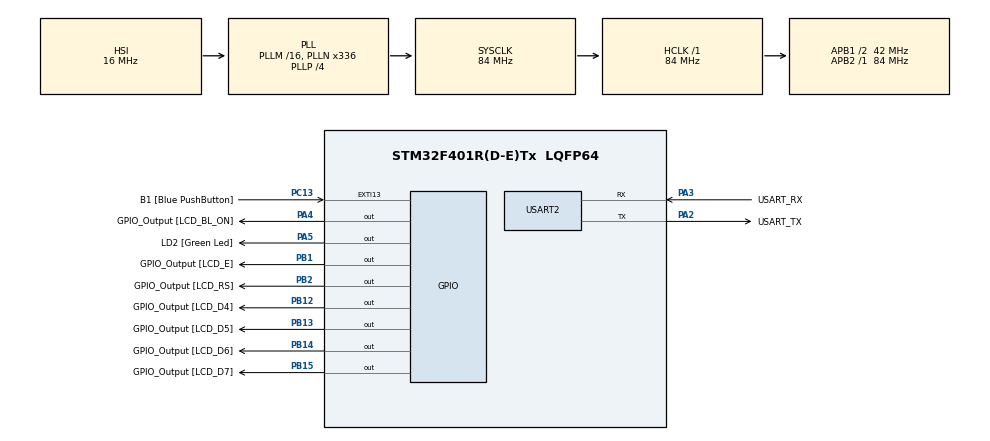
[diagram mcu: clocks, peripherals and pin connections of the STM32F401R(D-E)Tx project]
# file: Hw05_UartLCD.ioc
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Dma.Request0=USART2_RX
Dma.USART2_RX.0.Direction=DMA_PERIPH_TO_MEMORY
Dma.USART2_RX.0.FIFOMode=DMA_FIFOMODE_DISABLE
Dma.USART2_RX.0.Instance=DMA1_Stream5
Dma.USART2_RX.0.MemDataAlignment=DMA_MDATAALIGN_BYTE
Dma.USART2_RX.0.MemInc=DMA_MINC_ENABLE
Dma.USART2_RX.0.Mode=DMA_NORMAL
Dma.USART2_RX.0.PeriphDataAlignment=DMA_PDATAALIGN_BYTE
Dma.USART2_RX.0.PeriphInc=DMA_PINC_DISABLE
Dma.USART2_RX.0.Priority=DMA_PRIORITY_LOW
Mcu.Family=STM32F4
Mcu.Name=STM32F401R(D-E)Tx
Mcu.Package=LQFP64
NVIC.DMA1_Stream5_IRQn=true\:0\:0\:false\:false\:true\:false\:true\:true
NVIC.PriorityGroup=NVIC_PRIORITYGROUP_4
NVIC.USART2_IRQn=true\:0\:0\:false\:false\:true\:true\:true\:true
PA13.GPIO_Label=TMS
PA13.Mode=Trace_Asynchronous_SW
PA13.Signal=SYS_JTMS-SWDIO
PA14.GPIO_Label=TCK
PA14.Mode=Trace_Asynchronous_SW
PA14.Signal=SYS_JTCK-SWCLK
PA2.GPIO_Label=USART_TX
PA2.GPIO_Mode=GPIO_MODE_AF_PP
PA2.GPIO_PuPd=GPIO_NOPULL
PA2.GPIO_Speed=GPIO_SPEED_FREQ_LOW
PA2.Mode=Asynchronous
PA2.Signal=USART2_TX
PA3.GPIO_Label=USART_RX
PA3.GPIO_Mode=GPIO_MODE_AF_PP
PA3.GPIO_PuPd=GPIO_NOPULL
PA3.GPIO_Speed=GPIO_SPEED_FREQ_LOW
PA3.Mode=Asynchronous
PA3.Signal=USART2_RX
PA4.GPIO_Label=GPIO_Output [LCD_BL_ON]
PA4.Signal=GPIO_Output
PA5.GPIO_Label=LD2 [Green Led]
PA5.GPIO_Mode=GPIO_MODE_OUTPUT_PP
PA5.GPIO_PuPd=GPIO_NOPULL
PA5.GPIO_Speed=GPIO_SPEED_FREQ_LOW
PA5.Signal=GPIO_Output
PB1.GPIO_Label=GPIO_Output [LCD_E]
PB1.Signal=GPIO_Output
PB12.GPIO_Label=GPIO_Output [LCD_D4]
PB12.Signal=GPIO_Output
PB13.GPIO_Label=GPIO_Output [LCD_D5]
PB13.Signal=GPIO_Output
PB14.GPIO_Label=GPIO_Output [LCD_D6]
PB14.Signal=GPIO_Output
PB15.GPIO_Label=GPIO_Output [LCD_D7]
PB15.Signal=GPIO_Output
PB2.GPIO_Label=GPIO_Output [LCD_RS]
PB2.Signal=GPIO_Output
PB3.GPIO_Label=SWO
PB3.Mode=Trace_Asynchronous_SW
PB3.Signal=SYS_JTDO-SWO
PC13-ANTI_TAMP.GPIO_Label=B1 [Blue PushButton]
PC13-ANTI_TAMP.GPIO_ModeDefaultEXTI=GPIO_MODE_IT_FALLING
PC13-ANTI_TAMP.GPIO_PuPd=GPIO_NOPULL
PC13-ANTI_TAMP.Signal=GPXTI13
PC14-OSC32_IN.Mode=LSE-External-Oscillator
PC14-OSC32_IN.Signal=RCC_OSC32_IN
PC15-OSC32_OUT.Mode=LSE-External-Oscillator
PC15-OSC32_OUT.Signal=RCC_OSC32_OUT
PH0\ -\ OSC_IN.Mode=HSE-External-Clock-Source
PH0\ -\ OSC_IN.Signal=RCC_OSC_IN
PH1\ -\ OSC_OUT.Mode=HSE-External-Clock-Source
PH1\ -\ OSC_OUT.Signal=RCC_OSC_OUT
ProjectManager.HeapSize=0x200
ProjectManager.StackSize=0x400
ProjectManager.TargetToolchain=STM32CubeIDE
RCC.48MHZClocksFreq_Value=48000000
RCC.AHBFreq_Value=84000000
RCC.APB1CLKDivider=RCC_HCLK_DIV2
RCC.APB1Freq_Value=42000000
RCC.APB1TimFreq_Value=84000000
RCC.APB2Freq_Value=84000000
RCC.APB2TimFreq_Value=84000000
RCC.CortexFreq_Value=84000000
RCC.HCLKFreq_Value=84000000
RCC.HSE_VALUE=8000000
RCC.HSI_VALUE=16000000
RCC.PLLN=336
RCC.PLLP=RCC_PLLP_DIV4
RCC.PLLQ=7
RCC.SYSCLKFreq_VALUE=84000000
RCC.SYSCLKSource=RCC_SYSCLKSOURCE_PLLCLK
RCC.VCOOutputFreq_Value=336000000
USART2.VirtualMode=VM_ASYNC
board=NUCLEO-F401RE

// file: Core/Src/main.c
/* USER CODE BEGIN Header */
/**
  ******************************************************************************
  * @file           : main.c
  * @brief          : Main program body
  ******************************************************************************
  * @attention
  *
  * Copyright (c) 2025 STMicroelectronics.
  * All rights reserved.
  *
  * This software is licensed under terms that can be found in the LICENSE file
  * in the root directory of this software component.
  * If no LICENSE file comes with this software, it is provided AS-IS.
  *
  ******************************************************************************
  */
/* USER CODE END Header */
#include "main.h"

/* USER CODE BEGIN Includes */
#include "PMDB16_LCD.h"
/* USER CODE END Includes */

/* USER CODE BEGIN PD */
#define RX_BUFFER_SIZE 33
/* USER CODE END PD */

UART_HandleTypeDef huart2;
DMA_HandleTypeDef hdma_usart2_rx;

/* USER CODE BEGIN PV */
uint8_t rx_buffer[RX_BUFFER_SIZE];
/* USER CODE END PV */

void SystemClock_Config(void);
static void MX_GPIO_Init(void);
static void MX_DMA_Init(void);
static void MX_USART2_UART_Init(void);

/* USER CODE BEGIN 0 */
void HAL_UARTEx_RxEventCallback(UART_HandleTypeDef *huart, uint16_t Size) {
  if (huart->Instance == USART2) {
    lcd_clear();

    char line1[17];
    int len1 = (Size < 16) ? Size : 16;

    memcpy(line1, rx_buffer, len1);
    line1[len1] = '\0';
    lcd_println(line1, 0);

    if (Size > 16) {
		char line2[17];
		int len2 = Size - 16;
		if (len2 > 16) len2 = 16;

		memcpy(line2, rx_buffer + 16, len2);

		if (Size > 32) {
			line2[14] = '.';
			line2[15] = '.';
		}

		line2[len2] = '\0';
		lcd_println(line2, 1);
	}

    HAL_UARTEx_ReceiveToIdle_DMA(&huart2, rx_buffer, RX_BUFFER_SIZE);
  }
}
/* USER CODE END 0 */

int main(void)
{

  /* MCU Configuration--------------------------------------------------------*/

  /* Reset of all peripherals, Initializes the Flash interface and the Systick. */
  HAL_Init();

  /* Configure the system clock */
  SystemClock_Config();

  /* Initialize all configured peripherals */
  MX_GPIO_Init();
  MX_DMA_Init();
  MX_USART2_UART_Init();
  /* USER CODE BEGIN 2 */
  lcd_initialize();
  HAL_UARTEx_ReceiveToIdle_DMA(&huart2, rx_buffer, RX_BUFFER_SIZE);
  /* USER CODE END 2 */

  /* Infinite loop */
  while (1)
  {

  }
}

void SystemClock_Config(void)
{
  RCC_OscInitTypeDef RCC_OscInitStruct = {0};
  RCC_ClkInitTypeDef RCC_ClkInitStruct = {0};

  /** Configure the main internal regulator output voltage
  */
  __HAL_RCC_PWR_CLK_ENABLE();
  __HAL_PWR_VOLTAGESCALING_CONFIG(PWR_REGULATOR_VOLTAGE_SCALE2);

  /** Initializes the RCC Oscillators according to the specified parameters
  * in the RCC_OscInitTypeDef structure.
  */
  RCC_OscInitStruct.OscillatorType = RCC_OSCILLATORTYPE_HSI;
  RCC_OscInitStruct.HSIState = RCC_HSI_ON;
  RCC_OscInitStruct.HSICalibrationValue = RCC_HSICALIBRATION_DEFAULT;
  RCC_OscInitStruct.PLL.PLLState = RCC_PLL_ON;
  RCC_OscInitStruct.PLL.PLLSource = RCC_PLLSOURCE_HSI;
  RCC_OscInitStruct.PLL.PLLM = 16;
  RCC_OscInitStruct.PLL.PLLN = 336;
  RCC_OscInitStruct.PLL.PLLP = RCC_PLLP_DIV4;
  RCC_OscInitStruct.PLL.PLLQ = 7;
  if (HAL_RCC_OscConfig(&RCC_OscInitStruct) != HAL_OK)
  {
    Error_Handler();
  }

  /** Initializes the CPU, AHB and APB buses clocks
  */
  RCC_ClkInitStruct.ClockType = RCC_CLOCKTYPE_HCLK|RCC_CLOCKTYPE_SYSCLK
                              |RCC_CLOCKTYPE_PCLK1|RCC_CLOCKTYPE_PCLK2;
  RCC_ClkInitStruct.SYSCLKSource = RCC_SYSCLKSOURCE_PLLCLK;
  RCC_ClkInitStruct.AHBCLKDivider = RCC_SYSCLK_DIV1;
  RCC_ClkInitStruct.APB1CLKDivider = RCC_HCLK_DIV2;
  RCC_ClkInitStruct.APB2CLKDivider = RCC_HCLK_DIV1;

  if (HAL_RCC_ClockConfig(&RCC_ClkInitStruct, FLASH_LATENCY_2) != HAL_OK)
  {
    Error_Handler();
  }
}

static void MX_USART2_UART_Init(void)
{

  huart2.Instance = USART2;
  huart2.Init.BaudRate = 115200;
  huart2.Init.WordLength = UART_WORDLENGTH_8B;
  huart2.Init.StopBits = UART_STOPBITS_1;
  huart2.Init.Parity = UART_PARITY_NONE;
  huart2.Init.Mode = UART_MODE_TX_RX;
  huart2.Init.HwFlowCtl = UART_HWCONTROL_NONE;
  huart2.Init.OverSampling = UART_OVERSAMPLING_16;
  if (HAL_UART_Init(&huart2) != HAL_OK)
  {
    Error_Handler();
  }

}

static void MX_DMA_Init(void)
{

  /* DMA controller clock enable */
  __HAL_RCC_DMA1_CLK_ENABLE();

  /* DMA interrupt init */
  /* DMA1_Stream5_IRQn interrupt configuration */
  HAL_NVIC_SetPriority(DMA1_Stream5_IRQn, 0, 0);
  HAL_NVIC_EnableIRQ(DMA1_Stream5_IRQn);

}

static void MX_GPIO_Init(void)
{
  GPIO_InitTypeDef GPIO_InitStruct = {0};

  /* GPIO Ports Clock Enable */
  __HAL_RCC_GPIOC_CLK_ENABLE();
  __HAL_RCC_GPIOH_CLK_ENABLE();
  __HAL_RCC_GPIOA_CLK_ENABLE();
  __HAL_RCC_GPIOB_CLK_ENABLE();

  /*Configure GPIO pin Output Level */
  HAL_GPIO_WritePin(GPIOA, GPIO_Output_Pin|LD2_Pin, GPIO_PIN_RESET);

  /*Configure GPIO pin Output Level */
  HAL_GPIO_WritePin(GPIOB, GPIO_OutputB1_Pin|GPIO_OutputB2_Pin|GPIO_OutputB12_Pin|GPIO_OutputB13_Pin
                          |GPIO_OutputB14_Pin|GPIO_OutputB15_Pin, GPIO_PIN_RESET);

  /*Configure GPIO pin : B1_Pin */
  GPIO_InitStruct.Pin = B1_Pin;
  GPIO_InitStruct.Mode = GPIO_MODE_IT_FALLING;
  GPIO_InitStruct.Pull = GPIO_NOPULL;
  HAL_GPIO_Init(B1_GPIO_Port, &GPIO_InitStruct);

  /*Configure GPIO pins : GPIO_Output_Pin LD2_Pin */
  GPIO_InitStruct.Pin = GPIO_Output_Pin|LD2_Pin;
  GPIO_InitStruct.Mode = GPIO_MODE_OUTPUT_PP;
  GPIO_InitStruct.Pull = GPIO_NOPULL;
  GPIO_InitStruct.Speed = GPIO_SPEED_FREQ_LOW;
  HAL_GPIO_Init(GPIOA, &GPIO_InitStruct);

  /*Configure GPIO pins : GPIO_OutputB1_Pin GPIO_OutputB2_Pin GPIO_OutputB12_Pin GPIO_OutputB13_Pin
                           GPIO_OutputB14_Pin GPIO_OutputB15_Pin */
  GPIO_InitStruct.Pin = GPIO_OutputB1_Pin|GPIO_OutputB2_Pin|GPIO_OutputB12_Pin|GPIO_OutputB13_Pin
                          |GPIO_OutputB14_Pin|GPIO_OutputB15_Pin;
  GPIO_InitStruct.Mode = GPIO_MODE_OUTPUT_PP;
  GPIO_InitStruct.Pull = GPIO_NOPULL;
  GPIO_InitStruct.Speed = GPIO_SPEED_FREQ_LOW;
  HAL_GPIO_Init(GPIOB, &GPIO_InitStruct);

}

void Error_Handler(void)
{
  __disable_irq();
  while (1)
  {
  }
}
